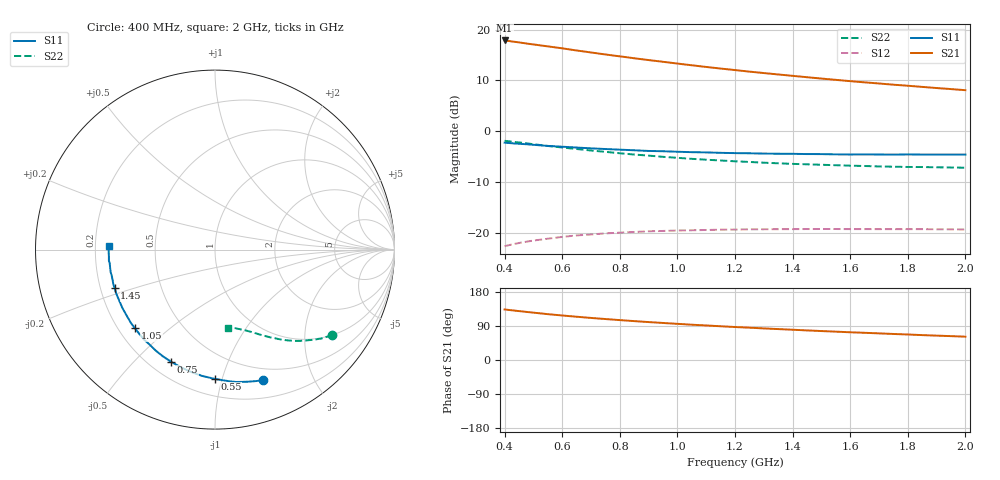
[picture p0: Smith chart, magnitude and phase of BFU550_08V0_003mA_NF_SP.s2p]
! Filename:  P:\Prog\Test\Noise\ATS_data\Testdata_Net\06 Compressed Noise after Statistics\BFU550_APG2013_43_D05_08p0V_003mA_NF_CM01_D.sf
! Date/Time: Fri 26/Apr/2013 13:07:23
! BFU550_APG2013_43_D05_08p0V_1to35mA_NF_CM01_Bias3_R.sf
! Noise Parameter Data File
! BFU550_APG2013_43_D05_08p0V_1to35mA_NF_CM01
! Date/time: Thu Apr 25 17:34:01 2013
! VAR V_out= 8.000000
! VAR I_out= 3.000000
! VAR V_in= 0.799100
! VAR I_in= 0.031210
! Device data file deembeded for feedlines and parallel
! Original file: \06 Compressed Noise after Statistics\BFU550_APG2013_43_D05_08p0V_003mA_NF_CM01_R.sf
! Feed-files: PR047V01_250413_Feed1.s2p, PR047V01_250413_Feed2.s2p
! Parallel-file: PR047V01_250413_Par.s2p
# MHz S MA R 50
!  Freq-MHz  S11-mag  S11-arg  S21-mag  S21-arg  S12-mag  S12-arg  S22-mag  S22-arg
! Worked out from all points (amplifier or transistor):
!   37 points, 400 MHz to 2 GHz, reference 50 ohm
!   highest |S21| = 17.8 dB at 400 MHz (marker M1)
!   |S21| within 3 dB of that: start of sweep to 784 MHz
!   unconditionally stable (mu >= 1): nowhere
!   at 500 MHz: K = 0.22, MSG = 19.2 dB, |S12| = -21.4 dB
!   at 1.1 GHz: K = 0.46, MSG = 16.0 dB, |S12| = -19.4 dB
!   at 2 GHz: K = 0.83, MSG = 13.7 dB, |S12| = -19.3 dB
!   lowest NFmin = 0.53 dB at 420 MHz
!   S11 on the Smith chart (normalised r, x): 400 MHz: 0.37, -1.36; 550 MHz: 0.32, -0.95; 750 MHz: 0.28, -0.64; 1.05 GHz: 0.27, -0.38; 1.45 GHz: 0.26, -0.17; 2 GHz: 0.26, +0.01
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400  0.7748 -69.9  7.807 133.4  0.07472 52.6  0.8082 -36.0
440  0.7595 -75.6  7.539 129.9  0.07919 49.9  0.7843 -38.6
460  0.7526 -78.3  7.399 128.2  0.08129 48.7  0.7733 -39.8
500  0.7386 -83.6  7.138 125.0  0.08484 46.4  0.7489 -42.0
550  0.7203 -90.1  6.828 121.0  0.08847 43.6  0.7191 -44.7
600  0.7074 -95.8  6.536 117.5  0.09209 41.3  0.6946 -47.1
650  0.6943 -101.3  6.224 114.2  0.09521 39.1  0.6718 -49.2
700  0.6817 -106.5  5.953 111.0  0.09737 37.1  0.6492 -51.2
750  0.6712 -111.3  5.686 108.1  0.09977 35.4  0.6297 -53.0
800  0.6618 -115.9  5.453 105.3  0.1015 33.8  0.6099 -54.8
850  0.6527 -120.3  5.222 102.6  0.103 32.3  0.5926 -56.2
900  0.6426 -124.5  5.013 100.1  0.1045 31.0  0.5785 -57.8
950  0.6386 -128.3  4.819 97.7  0.1054 29.8  0.5626 -59.3
1050  0.6252 -135.6  4.456 93.2  0.107 27.7  0.5378 -61.9
1200  0.612 -145.3  3.997 87.0  0.1088 25.2  0.5086 -65.4
1300  0.6056 -150.9  3.738 83.4  0.1095 24.0  0.4929 -67.5
1450  0.5989 -158.8  3.402 78.1  0.11 22.6  0.475 -70.5
1500  0.5985 -161.2  3.3 76.4  0.1101 22.2  0.4704 -71.6
1600  0.5935 -166.0  3.112 73.2  0.1098 21.6  0.4609 -73.5
1750  0.5916 -172.4  2.873 68.7  0.1097 21.2  0.4503 -76.3
1850  0.5923 -176.4  2.733 65.7  0.1097 21.0  0.4467 -78.1
2000  0.5917 178.2  2.537 61.6  0.1089 21.2  0.44 -80.9
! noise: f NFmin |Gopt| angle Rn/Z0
400  0.5652  0.3514  31.73  0.1457
460  0.5522  0.3365  39.73  0.1322
600  0.5676  0.3494  49.31  0.1342
800  0.6449  0.3445  67.92  0.1239
1000  0.7056  0.3677  82.03  0.1149
1200  0.7539  0.3825  94.22  0.1118
1400  0.7608  0.391  108.6  0.1002
1600  0.849  0.3751  127  0.0828
1800  0.7385  0.4253  142  0.0592
2000  0.973  0.4138  152.2  0.0667
